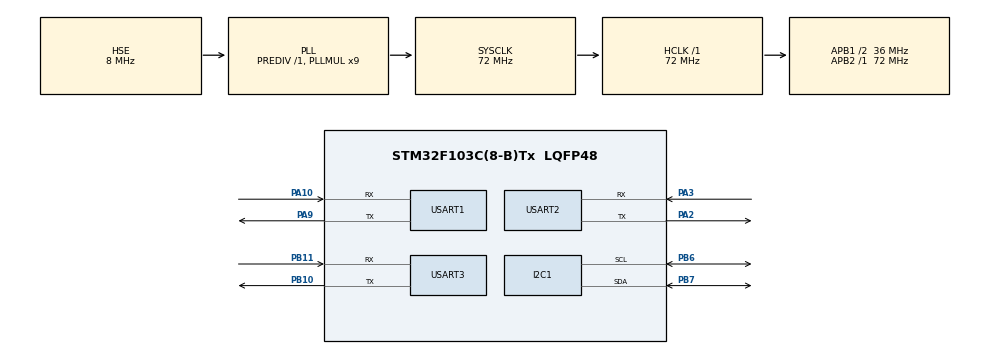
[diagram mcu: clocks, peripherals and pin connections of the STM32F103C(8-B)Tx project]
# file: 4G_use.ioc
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Dma.Request0=USART1_RX
Dma.Request1=USART2_RX
Dma.Request2=USART3_RX
Dma.USART1_RX.0.Direction=DMA_PERIPH_TO_MEMORY
Dma.USART1_RX.0.Instance=DMA1_Channel5
Dma.USART1_RX.0.MemDataAlignment=DMA_MDATAALIGN_BYTE
Dma.USART1_RX.0.MemInc=DMA_MINC_ENABLE
Dma.USART1_RX.0.Mode=DMA_CIRCULAR
Dma.USART1_RX.0.PeriphDataAlignment=DMA_PDATAALIGN_BYTE
Dma.USART1_RX.0.PeriphInc=DMA_PINC_DISABLE
Dma.USART1_RX.0.Priority=DMA_PRIORITY_LOW
Dma.USART2_RX.1.Direction=DMA_PERIPH_TO_MEMORY
Dma.USART2_RX.1.Instance=DMA1_Channel6
Dma.USART2_RX.1.MemDataAlignment=DMA_MDATAALIGN_BYTE
Dma.USART2_RX.1.MemInc=DMA_MINC_ENABLE
Dma.USART2_RX.1.Mode=DMA_CIRCULAR
Dma.USART2_RX.1.PeriphDataAlignment=DMA_PDATAALIGN_BYTE
Dma.USART2_RX.1.PeriphInc=DMA_PINC_DISABLE
Dma.USART2_RX.1.Priority=DMA_PRIORITY_LOW
Dma.USART3_RX.2.Direction=DMA_PERIPH_TO_MEMORY
Dma.USART3_RX.2.Instance=DMA1_Channel3
Dma.USART3_RX.2.MemDataAlignment=DMA_MDATAALIGN_BYTE
Dma.USART3_RX.2.MemInc=DMA_MINC_ENABLE
Dma.USART3_RX.2.Mode=DMA_CIRCULAR
Dma.USART3_RX.2.PeriphDataAlignment=DMA_PDATAALIGN_BYTE
Dma.USART3_RX.2.PeriphInc=DMA_PINC_DISABLE
Dma.USART3_RX.2.Priority=DMA_PRIORITY_LOW
Mcu.Family=STM32F1
Mcu.Name=STM32F103C(8-B)Tx
Mcu.Package=LQFP48
NVIC.DMA1_Channel3_IRQn=true\:0\:0\:false\:false\:true\:false\:true\:true
NVIC.DMA1_Channel5_IRQn=true\:0\:0\:false\:false\:true\:false\:true\:true
NVIC.DMA1_Channel6_IRQn=true\:0\:0\:false\:false\:true\:false\:true\:true
NVIC.PriorityGroup=NVIC_PRIORITYGROUP_4
NVIC.TIM3_IRQn=true\:0\:0\:false\:false\:true\:true\:true\:true
NVIC.TIM4_IRQn=true\:0\:0\:false\:false\:true\:true\:true\:true
NVIC.USART1_IRQn=true\:0\:0\:false\:false\:true\:true\:true\:true
NVIC.USART2_IRQn=true\:0\:0\:false\:false\:true\:true\:true\:true
NVIC.USART3_IRQn=true\:0\:0\:false\:false\:true\:true\:true\:true
PA10.Mode=Asynchronous
PA10.Signal=USART1_RX
PA13.Mode=Serial_Wire
PA13.Signal=SYS_JTMS-SWDIO
PA14.Mode=Serial_Wire
PA14.Signal=SYS_JTCK-SWCLK
PA2.Mode=Asynchronous
PA2.Signal=USART2_TX
PA3.Mode=Asynchronous
PA3.Signal=USART2_RX
PA9.Mode=Asynchronous
PA9.Signal=USART1_TX
PB10.Mode=Asynchronous
PB10.Signal=USART3_TX
PB11.Mode=Asynchronous
PB11.Signal=USART3_RX
PB6.Mode=I2C
PB6.Signal=I2C1_SCL
PB7.Mode=I2C
PB7.Signal=I2C1_SDA
PC14-OSC32_IN.Mode=LSE-External-Oscillator
PC14-OSC32_IN.Signal=RCC_OSC32_IN
PC15-OSC32_OUT.Mode=LSE-External-Oscillator
PC15-OSC32_OUT.Signal=RCC_OSC32_OUT
PD0-OSC_IN.Mode=HSE-External-Oscillator
PD0-OSC_IN.Signal=RCC_OSC_IN
PD1-OSC_OUT.Mode=HSE-External-Oscillator
PD1-OSC_OUT.Signal=RCC_OSC_OUT
ProjectManager.HeapSize=0x200
ProjectManager.StackSize=0x400
ProjectManager.TargetToolchain=MDK-ARM V5.32
RCC.AHBFreq_Value=72000000
RCC.APB1CLKDivider=RCC_HCLK_DIV2
RCC.APB1Freq_Value=36000000
RCC.APB1TimFreq_Value=72000000
RCC.APB2Freq_Value=72000000
RCC.APB2TimFreq_Value=72000000
RCC.HCLKFreq_Value=72000000
RCC.HSE_Timout=1000
RCC.LSE_Timout=7000
RCC.PLLMUL=RCC_PLL_MUL9
RCC.PLLSourceVirtual=RCC_PLLSOURCE_HSE
RCC.RTCClockSelection=RCC_RTCCLKSOURCE_HSE_DIV128
RCC.SYSCLKFreq_VALUE=72000000
RCC.SYSCLKSource=RCC_SYSCLKSOURCE_PLLCLK
RCC.USBFreq_Value=72000000
RTC.Format=RTC_FORMAT_BIN
TIM3.AutoReloadPreload=TIM_AUTORELOAD_PRELOAD_ENABLE
TIM3.Period=10000
TIM3.Prescaler=7200-1
TIM4.Period=100
TIM4.Prescaler=7200-1
USART1.VirtualMode=VM_ASYNC
USART2.VirtualMode=VM_ASYNC
USART3.VirtualMode=VM_ASYNC
VP_RTC_VS_RTC_Activate.Mode=RTC_Enabled
VP_RTC_VS_RTC_Calendar.Mode=RTC_Calendar
VP_TIM3_VS_ClockSourceINT.Mode=Internal
VP_TIM4_VS_ClockSourceINT.Mode=Internal
board=custom

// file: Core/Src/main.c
/* USER CODE BEGIN Header */
/**
  ******************************************************************************
  * @file           : main.c
  * @brief          : Main program body
  ******************************************************************************
  * @attention
  *
  * Copyright (c) 2026 STMicroelectronics.
  * All rights reserved.
  *
  * This software is licensed under terms that can be found in the LICENSE file
  * in the root directory of this software component.
  * If no LICENSE file comes with this software, it is provided AS-IS.
  *
  ******************************************************************************
  */
/* USER CODE END Header */
#include "main.h"

/* USER CODE BEGIN Includes */
#include <string.h>
#include "4G_dma.h"
#include "Tx_String.h"
#include "oled.h"    //显示屏
#include "4G_WIFI_TCP.h"
#include "user_rtc.h"

/* USER CODE END Includes */

I2C_HandleTypeDef hi2c1;

RTC_HandleTypeDef hrtc;

TIM_HandleTypeDef htim3;
TIM_HandleTypeDef htim4;

UART_HandleTypeDef huart1;
UART_HandleTypeDef huart2;
UART_HandleTypeDef huart3;
DMA_HandleTypeDef hdma_usart1_rx;
DMA_HandleTypeDef hdma_usart2_rx;
DMA_HandleTypeDef hdma_usart3_rx;

void SystemClock_Config(void);
static void MX_GPIO_Init(void);
static void MX_DMA_Init(void);
static void MX_USART1_UART_Init(void);
static void MX_USART2_UART_Init(void);
static void MX_USART3_UART_Init(void);
static void MX_TIM4_Init(void);
static void MX_I2C1_Init(void);
static void MX_RTC_Init(void);
static void MX_TIM3_Init(void);

int main(void)
{

  /* MCU Configuration--------------------------------------------------------*/

  /* Reset of all peripherals, Initializes the Flash interface and the Systick. */
  HAL_Init();

  /* Configure the system clock */
  SystemClock_Config();

  /* Initialize all configured peripherals */
  MX_GPIO_Init();
  MX_DMA_Init();
  MX_USART1_UART_Init();
  MX_USART2_UART_Init();
  MX_USART3_UART_Init();
  MX_TIM4_Init();
  MX_I2C1_Init();
  MX_RTC_Init();
  MX_TIM3_Init();
  /* USER CODE BEGIN 2 */
  OLED_Init();
  User_DMA_INIT();

  #if (!DMA_MODE)
    WIFI_TCP_init();
    WIFI_TEXT();

    HAL_TIM_Base_Start_IT(&htim3);
  #else
    OLED_Clear();
    Tx_Printf_uart1("当前处于开发者模式\r\n");
    OLED_ShowString(1,1,"TEXT ing...");
  #endif

  /* USER CODE END 2 */

  /* Infinite loop */
  /* USER CODE BEGIN WHILE */
  while (1)
  {
      #if (!DMA_MODE)
//      if(HTTP_again_FLAG)
//      {
//        OLED_ShowString(4,1,"again OK");
//        User_HTTP_Connect();
//      }

        OLED_ShowString(4,1,"Run_minute:");
        OLED_ShowNum(4,12,RUN_TIME ,5);

        user_clock_printf();
        HAL_Delay(1000);
      #endif
    /* USER CODE END WHILE */

  }
}

void SystemClock_Config(void)
{
  RCC_OscInitTypeDef RCC_OscInitStruct = {0};
  RCC_ClkInitTypeDef RCC_ClkInitStruct = {0};
  RCC_PeriphCLKInitTypeDef PeriphClkInit = {0};

  /** Initializes the RCC Oscillators according to the specified parameters
  * in the RCC_OscInitTypeDef structure.
  */
  RCC_OscInitStruct.OscillatorType = RCC_OSCILLATORTYPE_HSE;
  RCC_OscInitStruct.HSEState = RCC_HSE_ON;
  RCC_OscInitStruct.HSEPredivValue = RCC_HSE_PREDIV_DIV1;
  RCC_OscInitStruct.HSIState = RCC_HSI_ON;
  RCC_OscInitStruct.PLL.PLLState = RCC_PLL_ON;
  RCC_OscInitStruct.PLL.PLLSource = RCC_PLLSOURCE_HSE;
  RCC_OscInitStruct.PLL.PLLMUL = RCC_PLL_MUL9;
  if (HAL_RCC_OscConfig(&RCC_OscInitStruct) != HAL_OK)
  {
    Error_Handler();
  }

  /** Initializes the CPU, AHB and APB buses clocks
  */
  RCC_ClkInitStruct.ClockType = RCC_CLOCKTYPE_HCLK|RCC_CLOCKTYPE_SYSCLK
                              |RCC_CLOCKTYPE_PCLK1|RCC_CLOCKTYPE_PCLK2;
  RCC_ClkInitStruct.SYSCLKSource = RCC_SYSCLKSOURCE_PLLCLK;
  RCC_ClkInitStruct.AHBCLKDivider = RCC_SYSCLK_DIV1;
  RCC_ClkInitStruct.APB1CLKDivider = RCC_HCLK_DIV2;
  RCC_ClkInitStruct.APB2CLKDivider = RCC_HCLK_DIV1;

  if (HAL_RCC_ClockConfig(&RCC_ClkInitStruct, FLASH_LATENCY_2) != HAL_OK)
  {
    Error_Handler();
  }
  PeriphClkInit.PeriphClockSelection = RCC_PERIPHCLK_RTC;
  PeriphClkInit.RTCClockSelection = RCC_RTCCLKSOURCE_HSE_DIV128;
  if (HAL_RCCEx_PeriphCLKConfig(&PeriphClkInit) != HAL_OK)
  {
    Error_Handler();
  }
}

static void MX_I2C1_Init(void)
{

  hi2c1.Instance = I2C1;
  hi2c1.Init.ClockSpeed = 100000;
  hi2c1.Init.DutyCycle = I2C_DUTYCYCLE_2;
  hi2c1.Init.OwnAddress1 = 0;
  hi2c1.Init.AddressingMode = I2C_ADDRESSINGMODE_7BIT;
  hi2c1.Init.DualAddressMode = I2C_DUALADDRESS_DISABLE;
  hi2c1.Init.OwnAddress2 = 0;
  hi2c1.Init.GeneralCallMode = I2C_GENERALCALL_DISABLE;
  hi2c1.Init.NoStretchMode = I2C_NOSTRETCH_DISABLE;
  if (HAL_I2C_Init(&hi2c1) != HAL_OK)
  {
    Error_Handler();
  }

}

static void MX_RTC_Init(void)
{

  RTC_TimeTypeDef sTime = {0};
  RTC_DateTypeDef DateToUpdate = {0};

  /** Initialize RTC Only
  */
  hrtc.Instance = RTC;
  hrtc.Init.AsynchPrediv = RTC_AUTO_1_SECOND;
  hrtc.Init.OutPut = RTC_OUTPUTSOURCE_ALARM;
  if (HAL_RTC_Init(&hrtc) != HAL_OK)
  {
    Error_Handler();
  }

  /** Initialize RTC and set the Time and Date
  */
  sTime.Hours = 0;
  sTime.Minutes = 0;
  sTime.Seconds = 0;

  if (HAL_RTC_SetTime(&hrtc, &sTime, RTC_FORMAT_BIN) != HAL_OK)
  {
    Error_Handler();
  }
  DateToUpdate.WeekDay = RTC_WEEKDAY_MONDAY;
  DateToUpdate.Month = RTC_MONTH_JANUARY;
  DateToUpdate.Date = 1;
  DateToUpdate.Year = 0;

  if (HAL_RTC_SetDate(&hrtc, &DateToUpdate, RTC_FORMAT_BIN) != HAL_OK)
  {
    Error_Handler();
  }

}

static void MX_TIM3_Init(void)
{

  TIM_ClockConfigTypeDef sClockSourceConfig = {0};
  TIM_MasterConfigTypeDef sMasterConfig = {0};

  htim3.Instance = TIM3;
  htim3.Init.Prescaler = 7200-1;
  htim3.Init.CounterMode = TIM_COUNTERMODE_UP;
  htim3.Init.Period = 10000;
  htim3.Init.ClockDivision = TIM_CLOCKDIVISION_DIV1;
  htim3.Init.AutoReloadPreload = TIM_AUTORELOAD_PRELOAD_ENABLE;
  if (HAL_TIM_Base_Init(&htim3) != HAL_OK)
  {
    Error_Handler();
  }
  sClockSourceConfig.ClockSource = TIM_CLOCKSOURCE_INTERNAL;
  if (HAL_TIM_ConfigClockSource(&htim3, &sClockSourceConfig) != HAL_OK)
  {
    Error_Handler();
  }
  sMasterConfig.MasterOutputTrigger = TIM_TRGO_RESET;
  sMasterConfig.MasterSlaveMode = TIM_MASTERSLAVEMODE_DISABLE;
  if (HAL_TIMEx_MasterConfigSynchronization(&htim3, &sMasterConfig) != HAL_OK)
  {
    Error_Handler();
  }

}

static void MX_TIM4_Init(void)
{

  TIM_ClockConfigTypeDef sClockSourceConfig = {0};
  TIM_MasterConfigTypeDef sMasterConfig = {0};

  htim4.Instance = TIM4;
  htim4.Init.Prescaler = 7200-1;
  htim4.Init.CounterMode = TIM_COUNTERMODE_UP;
  htim4.Init.Period = 100;
  htim4.Init.ClockDivision = TIM_CLOCKDIVISION_DIV1;
  htim4.Init.AutoReloadPreload = TIM_AUTORELOAD_PRELOAD_DISABLE;
  if (HAL_TIM_Base_Init(&htim4) != HAL_OK)
  {
    Error_Handler();
  }
  sClockSourceConfig.ClockSource = TIM_CLOCKSOURCE_INTERNAL;
  if (HAL_TIM_ConfigClockSource(&htim4, &sClockSourceConfig) != HAL_OK)
  {
    Error_Handler();
  }
  sMasterConfig.MasterOutputTrigger = TIM_TRGO_RESET;
  sMasterConfig.MasterSlaveMode = TIM_MASTERSLAVEMODE_DISABLE;
  if (HAL_TIMEx_MasterConfigSynchronization(&htim4, &sMasterConfig) != HAL_OK)
  {
    Error_Handler();
  }

}

static void MX_USART1_UART_Init(void)
{

  huart1.Instance = USART1;
  huart1.Init.BaudRate = 115200;
  huart1.Init.WordLength = UART_WORDLENGTH_8B;
  huart1.Init.StopBits = UART_STOPBITS_1;
  huart1.Init.Parity = UART_PARITY_NONE;
  huart1.Init.Mode = UART_MODE_TX_RX;
  huart1.Init.HwFlowCtl = UART_HWCONTROL_NONE;
  huart1.Init.OverSampling = UART_OVERSAMPLING_16;
  if (HAL_UART_Init(&huart1) != HAL_OK)
  {
    Error_Handler();
  }

}

static void MX_USART2_UART_Init(void)
{

  huart2.Instance = USART2;
  huart2.Init.BaudRate = 115200;
  huart2.Init.WordLength = UART_WORDLENGTH_8B;
  huart2.Init.StopBits = UART_STOPBITS_1;
  huart2.Init.Parity = UART_PARITY_NONE;
  huart2.Init.Mode = UART_MODE_TX_RX;
  huart2.Init.HwFlowCtl = UART_HWCONTROL_NONE;
  huart2.Init.OverSampling = UART_OVERSAMPLING_16;
  if (HAL_UART_Init(&huart2) != HAL_OK)
  {
    Error_Handler();
  }

}

static void MX_USART3_UART_Init(void)
{

  huart3.Instance = USART3;
  huart3.Init.BaudRate = 115200;
  huart3.Init.WordLength = UART_WORDLENGTH_8B;
  huart3.Init.StopBits = UART_STOPBITS_1;
  huart3.Init.Parity = UART_PARITY_NONE;
  huart3.Init.Mode = UART_MODE_TX_RX;
  huart3.Init.HwFlowCtl = UART_HWCONTROL_NONE;
  huart3.Init.OverSampling = UART_OVERSAMPLING_16;
  if (HAL_UART_Init(&huart3) != HAL_OK)
  {
    Error_Handler();
  }

}

static void MX_DMA_Init(void)
{

  /* DMA controller clock enable */
  __HAL_RCC_DMA1_CLK_ENABLE();

  /* DMA interrupt init */
  /* DMA1_Channel3_IRQn interrupt configuration */
  HAL_NVIC_SetPriority(DMA1_Channel3_IRQn, 0, 0);
  HAL_NVIC_EnableIRQ(DMA1_Channel3_IRQn);
  /* DMA1_Channel5_IRQn interrupt configuration */
  HAL_NVIC_SetPriority(DMA1_Channel5_IRQn, 0, 0);
  HAL_NVIC_EnableIRQ(DMA1_Channel5_IRQn);
  /* DMA1_Channel6_IRQn interrupt configuration */
  HAL_NVIC_SetPriority(DMA1_Channel6_IRQn, 0, 0);
  HAL_NVIC_EnableIRQ(DMA1_Channel6_IRQn);

}

static void MX_GPIO_Init(void)
{

  /* GPIO Ports Clock Enable */
  __HAL_RCC_GPIOC_CLK_ENABLE();
  __HAL_RCC_GPIOD_CLK_ENABLE();
  __HAL_RCC_GPIOA_CLK_ENABLE();
  __HAL_RCC_GPIOB_CLK_ENABLE();

}

void Error_Handler(void)
{
  __disable_irq();
  while (1)
  {
  }
}
